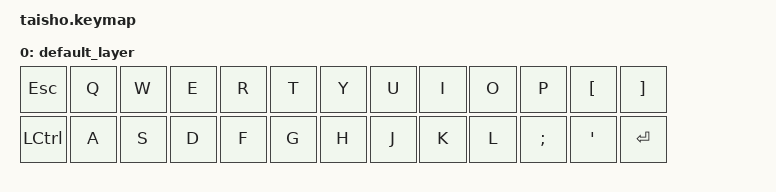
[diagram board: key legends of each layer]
#include <dt-bindings/zmk/keys.h>
#include <dt-bindings/zmk/keymap.h>

/ {
    keymap {
        compatible = "zmk,keymap";

        default_layer {
            bindings = <
                // overlayファイルで定義したRC(0,0)からRC(0,25)に対応
                &kp ESC  &kp Q    &kp W    &kp E    &kp R    &kp T    &kp Y    &kp U    &kp I    &kp O    &kp P    &kp LBKT &kp RBKT
                &kp LCTL &kp A    &kp S    &kp D    &kp F    &kp G    &kp H    &kp J    &kp K    &kp L    &kp SEMI &kp SQT  &kp RET
            >;
        };
    };
};
